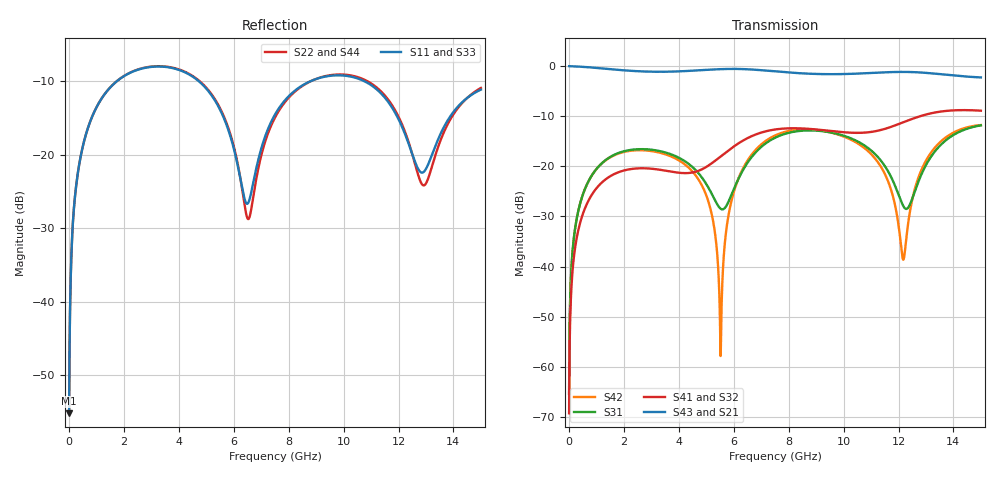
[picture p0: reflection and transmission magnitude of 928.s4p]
! Created with skrf 1.8.0 (http://scikit-rf.org).
# GHz S RI R 50.0
!freq ReS11 ImS11 ReS12 ImS12 ReS13 ImS13
! ReS14 ImS14
! ReS21 ImS21 ReS22 ImS22 ReS23 ImS23
! ReS24 ImS24
! ReS31 ImS31 ReS32 ImS32 ReS33 ImS33
! ReS34 ImS34
! ReS41 ImS41 ReS42 ImS42 ReS43 ImS43
! ReS44 ImS44
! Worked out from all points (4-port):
!   2499 points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, 5 MHz to 15 GHz, reference 50 ohm
!   strongest paths, dB at 5 MHz, 3.476 GHz, 7.19 GHz, 11.1 GHz, 15 GHz:
!     S43: 0.0, -1.1, -0.9, -1.3, -2.3
!     S21: 0.0, -1.1, -0.9, -1.3, -2.3
!     S41: -69.3, -20.8, -13.0, -13.1, -8.9
!     S32: -69.3, -20.9, -13.0, -13.2, -9.0
!     S31: -65.4, -17.2, -15.3, -17.3, -11.8
!     S42: -65.4, -17.5, -14.8, -18.1, -11.8
!   lowest |S11| = -55.2 dB at 5 MHz (marker M1), VSWR 1.00, Z = 50.1 + j0.106 ohm
!   |S11| at or under -10 dB: start of sweep to 1.753 GHz; 4.72 GHz to 8.809 GHz (4.089 GHz wide, 60.4 % of centre); 10.74 GHz to end of sweep
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0.005  0.00139 0.00106  0.9986 -0.0027  6.84e-05 0.000535  -6.65e-05 -0.000337
       0.9986 -0.0027  0.00139 0.00106  -6.65e-05 -0.000337  6.83e-05 0.000535
       6.84e-05 0.000535  -6.65e-05 -0.000337  0.00139 0.00106  0.9986 -0.0027
       -6.65e-05 -0.000337  6.83e-05 0.000535  0.9986 -0.0027  0.00139 0.00106
1.519383  0.2135 0.1935  0.6625 -0.6542  0.1044 0.0686  -0.0767 -0.0233
          0.6625 -0.6542  0.2149 0.1929  -0.0766 -0.0235  0.0996 0.0734
          0.1044 0.0686  -0.0766 -0.0235  0.2136 0.1935  0.6625 -0.6541
          -0.0767 -0.0233  0.0996 0.0734  0.6625 -0.6541  0.2148 0.1929
5.52105  0.1209 -0.1574  -0.793 -0.4907  -0.0311 -0.0215  -0.0609 0.1095
         -0.793 -0.4907  0.1148 -0.1675  -0.0638 0.1078  0.00122 0.000397
         -0.0311 -0.0215  -0.0638 0.1078  0.1203 -0.1573  -0.7931 -0.4907
         -0.0609 0.1095  0.00122 0.000397  -0.7931 -0.4907  0.1148 -0.1669
6.640267  0.051 0.0223  -0.9252 0.0221  -0.000676 0.1226  0.0149 0.1987
          -0.9252 0.0221  0.0398 0.0158  0.0103 0.1989  0.0332 0.1252
          -0.000676 0.1226  0.0103 0.1989  0.0513 0.0234  -0.9252 0.0221
          0.0149 0.1987  0.0332 0.1252  -0.9252 0.0221  0.0393 0.0157
10.17924  0.3363 -0.0581  0.0446 0.8343  0.1698 -0.0947  0.1974 -0.0907
          0.0446 0.8343  0.3414 -0.0634  0.1974 -0.0799  0.1726 -0.078
          0.1698 -0.0947  0.1974 -0.0799  0.3379 -0.0629  0.0441 0.8345
          0.1974 -0.0907  0.1726 -0.078  0.0441 0.8345  0.3394 -0.0583
12.17382  0.1068 -0.1019  0.7407 0.466  -0.034 -0.0215  0.1317 -0.2416
          0.7407 0.466  0.0984 -0.1172  0.146 -0.2331  -0.0113 -0.00284
          -0.034 -0.0215  0.146 -0.2331  0.1017 -0.1046  0.7404 0.4668
          0.1317 -0.2416  -0.0113 -0.00284  0.7404 0.4668  0.1026 -0.1139
15  0.2641 0.0814  0.5481 -0.5416  0.2488 0.0624  -0.3137 -0.1751
    0.5481 -0.5416  0.2686 0.0915  -0.2991 -0.1896  0.2463 0.0774
    0.2488 0.0624  -0.2991 -0.1896  0.2704 0.0816  0.5495 -0.5407
    -0.3137 -0.1751  0.2463 0.0774  0.5495 -0.5407  0.2606 0.0909
